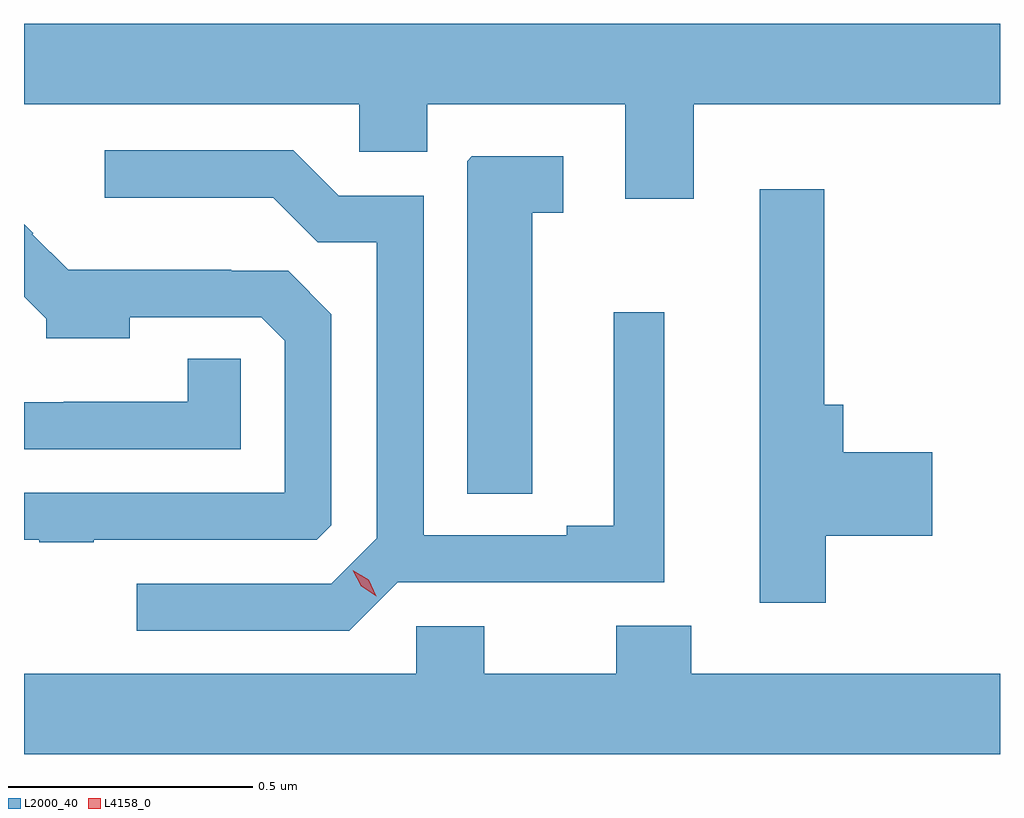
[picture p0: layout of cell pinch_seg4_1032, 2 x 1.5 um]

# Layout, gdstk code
import gdstk
lib = gdstk.Library(unit=1e-6, precision=1e-09)
def P(c, l, *ps):  # polygons
    for p in ps: c.add(gdstk.Polygon(p, *l))
L2000_40 = (2000, 40)
L4158_0 = (4158, 0)

pinch_seg4_1032 = lib.new_cell('pinch_seg4_1032')
P(pinch_seg4_1032, L2000_40, [(784.348,779.504),(784.976,779.504),(784.976,779.668),(782.976,779.668),(782.976,779.504),(783.663,779.504),(783.663,779.406),(783.802,779.406),(783.802,779.504),(784.208,779.504),(784.208,779.31),(784.348,779.31)],
  [(783.742,778.524),(784.288,778.524),(784.288,779.077),(784.184,779.077),(784.184,778.64),(784.088,778.64),(784.088,778.62),(783.795,778.62),(783.795,779.316),(783.621,779.316),(783.528,779.409),(783.141,779.409),(783.141,779.312),(783.487,779.312),(783.578,779.221),(783.699,779.221),(783.699,778.614),(783.606,778.521),(783.207,778.521),(783.207,778.425),(783.643,778.425)],
  [(784.018,779.281),(784.081,779.281),(784.081,779.397),(783.894,779.397),(783.884,779.387),(783.884,778.705),(784.018,778.705)],
  [(784.619,778.619),(784.837,778.619),(784.837,778.79),(784.655,778.79),(784.655,778.888),(784.616,778.888),(784.616,779.329),(784.484,779.329),(784.484,778.482),(784.619,778.482)],
  [(783.119,778.611),(783.576,778.611),(783.606,778.641),(783.606,779.073),(783.517,779.162),(783.401,779.162),(783.401,779.164),(783.067,779.164),(782.993,779.237),(782.995,779.239),(782.976,779.258),(782.976,779.109),(783.022,779.064),(783.022,779.024),(783.193,779.024),(783.193,779.067),(783.462,779.067),(783.51,779.019),(783.51,778.707),(782.976,778.707),(782.976,778.611),(783.007,778.611),(783.007,778.606),(783.119,778.606)],
  [(783.42,778.982),(783.312,778.982),(783.312,778.894),(783.057,778.894),(783.057,778.893),(782.976,778.893),(782.976,778.797),(783.42,778.797)],
  [(784.976,778.336),(784.343,778.336),(784.343,778.435),(784.19,778.435),(784.19,778.336),(783.919,778.336),(783.919,778.434),(783.78,778.434),(783.78,778.336),(782.976,778.336),(782.976,778.172),(784.976,778.172)])
P(pinch_seg4_1032, L4158_0, [(783.698,778.495),(783.667,778.516),(783.65,778.549),(783.65,778.549),(783.65,778.549),(783.682,778.529),(783.698,778.495),(783.698,778.495)])

lib.write_gds('pinch_seg4_1032.gds')
